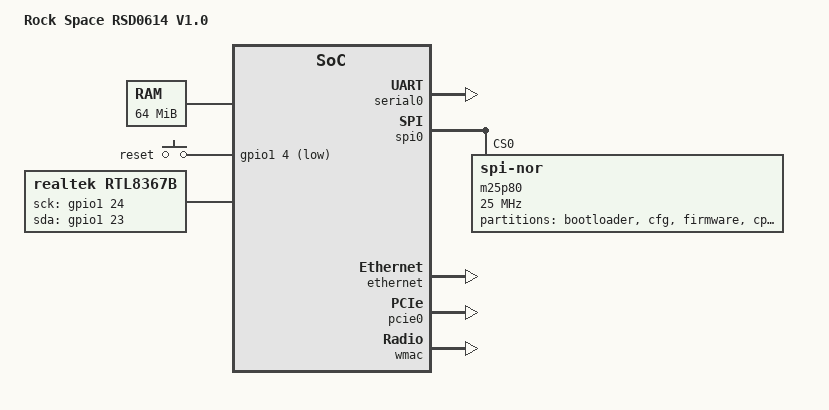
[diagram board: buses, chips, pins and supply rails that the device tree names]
// SPDX-License-Identifier: GPL-2.0-or-later OR MIT
/dts-v1/;

/*
 * Rock Space RSD0614 V1.0 — M3 dual-band Wi-Fi + LuCI + wired Gigabit RAM-boot.
 *
 * Hardware-verified target evidence (v5.3.9..v5.5.1 on silicon):
 *   - SoC: RTL8197FH-VG (SYSC_SOC_ID=0x81970001, BOND_OPTION=0x4 97FN, 40 MHz XTAL)
 *   - RAM: 64 MiB DDR2-533
 *   - Flash: BH25Q64 (0x684017), 8 MiB SPI NOR, 64 KiB erase blocks (6 read-only MTDs)
 *   - Serial: ttyS0, 115200 8N1 (vg-std 16550/DW-APB)
 *   - Physical Reset/WPS button: GPIO_PEFGH bit 4 (&gpio1 4 GPIO_ACTIVE_LOW)
 *   - External switch: RTL8367S (chip_num=0x6367, ver=0x0020) over bit-banged SMI
 *     SCK=&gpio1 24 (PH0), SDA=&gpio1 23 (PG7); EXT1/cpu_port=6, LAN=0..3, WAN=4
 *   - SoC<->switch RGMII trunk + VG 6-dword NIC: verified ping/SSH 0% loss in v5.5.1
 *   - PCIe0 (40 MHz XTAL): LTSSM=0x11 Link UP -> RTL8814BR (10ec:b814, 5 GHz wlan0)
 *   - On-SoC 2.4 GHz WMAC: RTL8197G (HAL_HW_TYPE_ID=0x15, cut=1, 2.4 GHz wlan1)
 *
 * RAM-boot safety policy:
 *   - every MTD partition remains strictly read-only;
 *   - persistent flash remains NO-GO;
 *   - pcie1 (unverified, shares IRQ 6 with WMAC) remains disabled;
 *   - unverified LED GPIOs remain unclaimed.
 */

#include "RTL8197F.dtsi"

#include <dt-bindings/gpio/gpio.h>
#include <dt-bindings/input/input.h>

/ {
	compatible = "rockspace,rsd0614", "realtek,rtl8197f-soc";
	model = "Rock Space RSD0614 V1.0";

	memory {
		device_type = "memory";
		reg = <0x00000000 0x04000000>; /* 64 MiB, target-verified */
	};

	chosen {
		bootargs = "console=ttyS0,115200";
	};

	gpio-keys-polled {
		compatible = "gpio-keys-polled";
		#address-cells = <1>;
		#size-cells = <0>;
		poll-interval = <20>;

		reset {
			label = "reset";
			gpios = <&gpio1 4 GPIO_ACTIVE_LOW>; /* PE4, verified in v5.4.1 */
			linux,code = <KEY_RESTART>;
		};
	};

	/*
	 * External RTL8367S 5-port Gigabit switch (chip_num=0x6367, ver=0x0020),
	 * verified in v5.4.2..v5.5.1 on bit-banged SMI SCK=PEFGH[24] (PH0), SDA=PEFGH[23] (PG7).
	 * RGMII uplink is EXT1 (port 6); LAN=ports 0..3 (VID2), WAN=port 4 (VID1).
	 * PH2 (gpio1 26, hardware RESET#) is held HIGH by bootloader and untouched.
	 */
	rtl8367b {
		compatible = "realtek,rtl8367b";
		cpu_port = <6>;
		realtek,extif1 = <1 0 1 1 1 1 1 1 2>;
		gpio-sck = <&gpio1 24 GPIO_ACTIVE_HIGH>;
		gpio-sda = <&gpio1 23 GPIO_ACTIVE_HIGH>;
	};
};

&gpio0 {
	status = "okay";
};

&gpio1 {
	status = "okay";
};

&serial0 {
	status = "okay";
};

&spi0 {
	status = "okay";

	m25p80@0 {
		#address-cells = <1>;
		#size-cells = <1>;
		compatible = "jedec,spi-nor";
		reg = <0>;
		/* Conservative single-lane clock; stock flash is BH25Q64. */
		spi-max-frequency = <25000000>;

		partition@0 {
			label = "bootloader";
			reg = <0x000000 0x020000>;
			read-only;
		};

		partition@20000 {
			label = "cfg";
			reg = <0x020000 0x010000>;
			read-only; /* per-unit RF/MAC/manufacturing data */
		};

		partition@30000 {
			label = "firmware";
			reg = <0x030000 0x7a0000>;
			read-only;
		};

		partition@7d0000 {
			label = "cpe";
			reg = <0x7d0000 0x010000>;
			read-only;
		};

		partition@7e0000 {
			label = "cfm";
			reg = <0x7e0000 0x010000>;
			read-only;
		};

		partition@7f0000 {
			label = "cfm_backup";
			reg = <0x7f0000 0x010000>;
			read-only;
		};
	};
};

&ethernet {
	status = "okay";
};

&pcie_clk {
	clock-frequency = <40000000>; /* 40 MHz XTAL, verified in v5.4.1/v5.4.2 */
};

&pcie0 {
	status = "okay"; /* 10ec:b814 RTL8814BR Link UP verified in v5.4.2..v5.5.1 */
};

&pcie1 {
	status = "disabled"; /* unverified silicon; shares cpuintc IRQ 6 with WMAC */
};

&wmac {
	compatible = "realtek,rtl8197g-wlan", "realtek,rtl8197f-wmac";
	reg = <0x18640000 0x40000>; /* RTL8197G 256 KiB WMAC aperture */
	status = "okay"; /* RTL8197G (HAL 0x15), target-verified in v5.4.2 */
};
